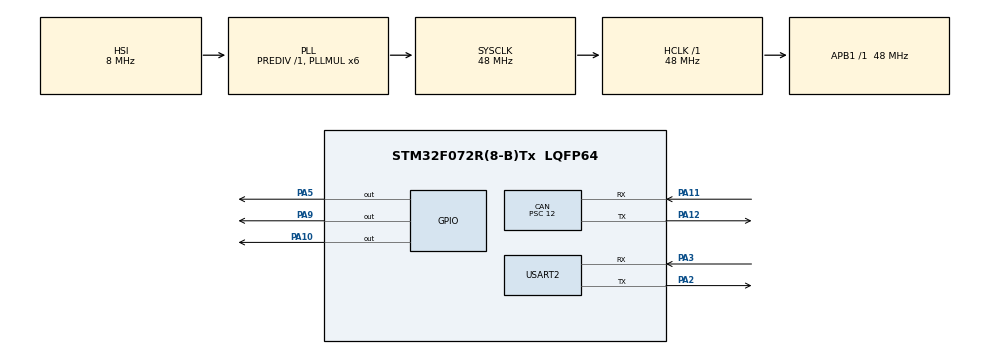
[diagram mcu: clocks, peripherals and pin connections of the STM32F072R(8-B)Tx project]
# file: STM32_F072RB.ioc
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CAN.BS1=CAN_BS1_8TQ
CAN.BS2=CAN_BS2_2TQ
CAN.CalculateBaudRate=363636
CAN.CalculateTimeBit=2750
CAN.CalculateTimeQuantum=250.0
CAN.Prescaler=12
Mcu.Family=STM32F0
Mcu.Name=STM32F072R(8-B)Tx
Mcu.Package=LQFP64
NVIC.CEC_CAN_IRQn=true\:0\:0\:false\:false\:true\:true\:true
NVIC.TIM14_IRQn=true\:0\:0\:false\:false\:true\:true\:true
PA10.GPIO_PuPd=GPIO_PULLUP
PA10.PinState=GPIO_PIN_RESET
PA10.Signal=GPIO_Output
PA11.Mode=CAN_Activate
PA11.Signal=CAN_RX
PA12.Mode=CAN_Activate
PA12.Signal=CAN_TX
PA2.Mode=Asynchronous
PA2.Signal=USART2_TX
PA3.Mode=Asynchronous
PA3.Signal=USART2_RX
PA5.Signal=GPIO_Output
PA9.GPIO_PuPd=GPIO_PULLUP
PA9.PinState=GPIO_PIN_RESET
PA9.Signal=GPIO_Output
PF0-OSC_IN.Mode=HSE-External-Oscillator
PF0-OSC_IN.Signal=RCC_OSC_IN
PF1-OSC_OUT.Mode=HSE-External-Oscillator
PF1-OSC_OUT.Signal=RCC_OSC_OUT
ProjectManager.HeapSize=0x200
ProjectManager.StackSize=0x400
ProjectManager.TargetToolchain=STM32CubeIDE
RCC.AHBFreq_Value=48000000
RCC.APB1Freq_Value=48000000
RCC.APB1TimFreq_Value=48000000
RCC.HCLKFreq_Value=48000000
RCC.HSE_VALUE=32000000
RCC.PLLMUL=RCC_PLL_MUL6
RCC.SYSCLKFreq_VALUE=48000000
RCC.SYSCLKSource=RCC_SYSCLKSOURCE_PLLCLK
TIM14.Period=65535
TIM14.Prescaler=4800
USART2.VirtualMode-Asynchronous=VM_ASYNC
VP_TIM14_VS_ClockSourceINT.Mode=Enable_Timer
board=custom

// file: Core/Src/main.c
/* USER CODE BEGIN Header */
/**
  ******************************************************************************
  * @file           : main.c
  * @brief          : Main program body
  ******************************************************************************
  * @attention
  *
  * <h2><center>&copy; Copyright (c) 2021 STMicroelectronics.
  * All rights reserved.</center></h2>
  *
  * This software component is licensed by ST under BSD 3-Clause license,
  * the "License"; You may not use this file except in compliance with the
  * License. You may obtain a copy of the License at:
  *                        opensource.org/licenses/BSD-3-Clause
  *
  ******************************************************************************
  */
/* USER CODE END Header */
#include "main.h"

/* USER CODE BEGIN Includes */
#include <stdio.h>
#include <math.h>
#include "stm32f0xx_it.h"

/* USER CODE END Includes */

CAN_HandleTypeDef hcan;

TIM_HandleTypeDef htim14;

UART_HandleTypeDef huart2;

/* USER CODE BEGIN PV */
//int CLK = 48000000;
int PSC=4800;
int ARR=1000;
int target = -1;
int cnt = -1;
int timer_val;
int arret = 0;

//CAN
CAN_TxHeaderTypeDef TxHeader;
CAN_RxHeaderTypeDef RxHeader;
uint8_t TxData[8];
uint8_t RxData[8];
uint32_t TxMailbox;

/* USER CODE END PV */

void SystemClock_Config(void);
static void MX_GPIO_Init(void);
static void MX_USART2_UART_Init(void);
static void MX_TIM14_Init(void);
static void MX_CAN_Init(void);
/* USER CODE BEGIN PFP */
void CAN_Config(void);
void HAL_CAN_RxFifo0MsgPendingCallback(CAN_HandleTypeDef *hcan);
uint8_t CAN_Transmit(uint32_t addr, uint32_t data_size, uint8_t *tab_data);

void test_moteur(void);
void change_dir(char dir);
void change_step(char f);
void transmit(void);

/* USER CODE END PFP */

/* USER CODE BEGIN 0 */
void CAN_Config(void) {
	CAN_FilterTypeDef sFilterConfig;

	sFilterConfig.FilterBank = 0;
	sFilterConfig.FilterMode = CAN_FILTERMODE_IDMASK; //Mode de filtrage choisit (avec maqsque ou liste d'adresses)
	sFilterConfig.FilterScale = CAN_FILTERSCALE_32BIT; //1 filtre de 32 bits ou 1 de 16 bits
	sFilterConfig.FilterIdHigh = 0x325 << 5; //Adresse de l'émetteur à filtrer (ou du groupe) sur les bits de poids fort
	sFilterConfig.FilterIdLow = 0; //
	sFilterConfig.FilterMaskIdHigh = 0xFFF << 5; //Masque utilisé (FFF pour une adresse unique) sur les bits de poids fort
	sFilterConfig.FilterMaskIdLow = 0;
	sFilterConfig.FilterFIFOAssignment = CAN_RX_FIFO0; //File utilisée (3 disponibles, donc potentiellement 3 filtres configurables sur chacune)
	sFilterConfig.FilterActivation = ENABLE;
	sFilterConfig.SlaveStartFilterBank = 14; // choix du filtre dans la banque

	HAL_CAN_ConfigFilter(&hcan, &sFilterConfig); //configuration du filtre sur le controleur can

	HAL_CAN_Start(&hcan);                         // Démarre le périphérique CAN
	HAL_CAN_ActivateNotification(&hcan, CAN_IT_RX_FIFO0_MSG_PENDING); // Active le mode interruption

	RxHeader.StdId = 0x324; //adresse dans l'en-tête du mesage reçu
	RxHeader.FilterMatchIndex = 0; //degré de concordance entre l'entête et les informations renseignées.
	RxHeader.DLC = 2; // taille de la donnée
	RxHeader.IDE = CAN_ID_STD; //type d'identifieur can
	RxHeader.RTR = CAN_RTR_DATA; //type de message (ici data)

	//TxData[0] = valeur; // Vous pouvez changer toutes les valeurs de Txdata[0] à Txdata[TxHeader.DLC - 1] (TxHeader.DLC étant défini ci dessus)

}

//fct interrupt (qd stm reçoit msg)
void HAL_CAN_RxFifo0MsgPendingCallback(CAN_HandleTypeDef *hcan) {
	//HAL_CAN_GetRxMessage(hcan, CAN_RX_FIFO0, &RxHeader, RxData);
	// Traitement des données
	uint8_t RxData[8];
	//réception du message
	HAL_CAN_GetRxMessage(hcan, CAN_RX_FIFO0, &RxHeader, RxData);

	//renvoie en uart à l'ordi
	HAL_UART_Transmit(&huart2, RxData, sizeof(RxData), 1000);
	uint8_t msg[] = "\n";
	HAL_UART_Transmit(&huart2, msg, sizeof(msg), 1000);
	transmit(); //(accusé de réception)
	change_dir(RxData[0]);
	change_step(RxData[1]);
}

//accusé de réception
void transmit(void) {
	//Définition de l'en-tête de transmission:
	CAN_TxHeaderTypeDef txHeader;

	txHeader.DLC = 3; // taille des données à transmettre en octets
	txHeader.StdId = 0x324; //adresse à mettre en en-tête du message (adresse de l'émetteur), qui servira pour l'arbitrage
	txHeader.IDE = CAN_ID_STD; //on choisit l'adressage standard
	txHeader.RTR = CAN_RTR_DATA; // On choisit quel type de message envoyer (requête ou data)
	txHeader.TransmitGlobalTime = DISABLE;

	uint8_t data[3] = { 's', 'l', 't' }; // création du message

	uint32_t TxMailbox; //création d'un message pour avoir le numéro de la mailbox dans laquelle est stocké le message (afin de suivre son évolution jusqu'à l'envoi)

	HAL_CAN_AddTxMessage(&hcan, &txHeader, data, &TxMailbox); //Ajouter le message (avec en-tête) à l'une des mailbox (disponible).

	//HAL_CAN_AddTxMessage(&hcan, (uint8_t*)data, sizeof(data), 1000);

}
/* USER CODE END 0 */

int main(void)
{
  /* USER CODE BEGIN 1 */
//char uart_buf[50];
//int uart_buf_len;
//uint16_t timer_val;

  /* USER CODE END 1 */

  /* MCU Configuration--------------------------------------------------------*/

  /* Reset of all peripherals, Initializes the Flash interface and the Systick. */
  HAL_Init();

  /* Configure the system clock */
  SystemClock_Config();

  /* Initialize all configured peripherals */
  MX_GPIO_Init();
  MX_USART2_UART_Init();
  MX_TIM14_Init();
  MX_CAN_Init();
  /* USER CODE BEGIN 2 */
  CAN_Config();
	//char *msg = "Start\n\r";
	//HAL_UART_Transmit(&huart2, (uint8_t*)msg, strlen(msg), 0xFFFF);

    //start timer
    HAL_TIM_Base_Start_IT(&htim14);

    HAL_GPIO_WritePin(GPIOA, GPIO_PIN_5, RESET);
    //Driver 1
    HAL_GPIO_WritePin(GPIOA, GPIO_PIN_9, RESET);
    HAL_GPIO_WritePin(GPIOA, GPIO_PIN_10, RESET);
  /* USER CODE END 2 */

  /* Infinite loop */
  /* USER CODE BEGIN WHILE */
    transmit();
    while (1)
      {

    	//TIM14->ARR = 10000;
    	//timer_val = __HAL_TIM_GET_COUNTER(&htim14);
		//if (timer_val == 0) HAL_GPIO_WritePin(GPIOA, GPIO_PIN_10, GPIO_PIN_SET);
		//else HAL_GPIO_WritePin(GPIOA, GPIO_PIN_10, GPIO_PIN_RESET);

    	//test_moteur();

    	/*timer_val15 = __HAL_TIM_GET_COUNTER(&htim15);
    	test_moteur(10000);
    	int div=0;
    	if (timer_val15 == 0) div = div+1;

    	if (div % 2 ==0)HAL_GPIO_WritePin(GPIOA, GPIO_PIN_9, RESET);
    	else HAL_GPIO_WritePin(GPIOA, GPIO_PIN_9, SET);*/
    	/*int i=0;
    	TIM14->ARR = 10000;
    	timer_val = __HAL_TIM_GET_COUNTER(&htim14);
    	while (i<10000){
			if (timer_val == 0){
				HAL_GPIO_WritePin(GPIOA, GPIO_PIN_10, GPIO_PIN_SET);
				i++;
			}
			else HAL_GPIO_WritePin(GPIOA, GPIO_PIN_10, GPIO_PIN_RESET);
    	}
    	TIM14->ARR = 1000;
    	while (i<20000){
			if (timer_val == 0){
				HAL_GPIO_WritePin(GPIOA, GPIO_PIN_10, GPIO_PIN_SET);
				i++;
			}
			else HAL_GPIO_WritePin(GPIOA, GPIO_PIN_10, GPIO_PIN_RESET);
		}*/

    	/*int i=0;
		while (i<10000){
			test_moteur(10000);
			i++;
		}
		while (i<20000){
			test_moteur(1000);
			i++;
		}*/

    	/*int i = 320000;
    	timer_val15 = 0;
		test_moteur(10000);
		while (timer_val15<10000){
			test_moteur(10000);
			timer_val15 = __HAL_TIM_GET_COUNTER(&htim15);
		}
		timer_val15 = 0;
		while (timer_val15<10000){
			test_moteur(1000);
			timer_val15 = __HAL_TIM_GET_COUNTER(&htim15);
		}
		timer_val15 = 0;
		while (timer_val15<10000){
			test_moteur(10000);
			timer_val15 = __HAL_TIM_GET_COUNTER(&htim15);
		}*/

    /* USER CODE END WHILE */

    }
}

void SystemClock_Config(void)
{
  RCC_OscInitTypeDef RCC_OscInitStruct = {0};
  RCC_ClkInitTypeDef RCC_ClkInitStruct = {0};
  RCC_PeriphCLKInitTypeDef PeriphClkInit = {0};

  /** Initializes the RCC Oscillators according to the specified parameters
  * in the RCC_OscInitTypeDef structure.
  */
  RCC_OscInitStruct.OscillatorType = RCC_OSCILLATORTYPE_HSI;
  RCC_OscInitStruct.HSIState = RCC_HSI_ON;
  RCC_OscInitStruct.HSICalibrationValue = RCC_HSICALIBRATION_DEFAULT;
  RCC_OscInitStruct.PLL.PLLState = RCC_PLL_ON;
  RCC_OscInitStruct.PLL.PLLSource = RCC_PLLSOURCE_HSI;
  RCC_OscInitStruct.PLL.PLLMUL = RCC_PLL_MUL6;
  RCC_OscInitStruct.PLL.PREDIV = RCC_PREDIV_DIV1;
  if (HAL_RCC_OscConfig(&RCC_OscInitStruct) != HAL_OK)
  {
    Error_Handler();
  }
  /** Initializes the CPU, AHB and APB buses clocks
  */
  RCC_ClkInitStruct.ClockType = RCC_CLOCKTYPE_HCLK|RCC_CLOCKTYPE_SYSCLK
                              |RCC_CLOCKTYPE_PCLK1;
  RCC_ClkInitStruct.SYSCLKSource = RCC_SYSCLKSOURCE_PLLCLK;
  RCC_ClkInitStruct.AHBCLKDivider = RCC_SYSCLK_DIV1;
  RCC_ClkInitStruct.APB1CLKDivider = RCC_HCLK_DIV1;

  if (HAL_RCC_ClockConfig(&RCC_ClkInitStruct, FLASH_LATENCY_1) != HAL_OK)
  {
    Error_Handler();
  }
  PeriphClkInit.PeriphClockSelection = RCC_PERIPHCLK_USART2;
  PeriphClkInit.Usart2ClockSelection = RCC_USART2CLKSOURCE_PCLK1;
  if (HAL_RCCEx_PeriphCLKConfig(&PeriphClkInit) != HAL_OK)
  {
    Error_Handler();
  }
}

static void MX_CAN_Init(void)
{

  hcan.Instance = CAN;
  hcan.Init.Prescaler = 12;
  hcan.Init.Mode = CAN_MODE_NORMAL;
  hcan.Init.SyncJumpWidth = CAN_SJW_1TQ;
  hcan.Init.TimeSeg1 = CAN_BS1_8TQ;
  hcan.Init.TimeSeg2 = CAN_BS2_2TQ;
  hcan.Init.TimeTriggeredMode = DISABLE;
  hcan.Init.AutoBusOff = DISABLE;
  hcan.Init.AutoWakeUp = DISABLE;
  hcan.Init.AutoRetransmission = DISABLE;
  hcan.Init.ReceiveFifoLocked = DISABLE;
  hcan.Init.TransmitFifoPriority = DISABLE;
  if (HAL_CAN_Init(&hcan) != HAL_OK)
  {
    Error_Handler();
  }

}

static void MX_TIM14_Init(void)
{

  htim14.Instance = TIM14;
  htim14.Init.Prescaler = 4800;
  htim14.Init.CounterMode = TIM_COUNTERMODE_UP;
  htim14.Init.Period = 65535;
  htim14.Init.ClockDivision = TIM_CLOCKDIVISION_DIV1;
  htim14.Init.AutoReloadPreload = TIM_AUTORELOAD_PRELOAD_DISABLE;
  if (HAL_TIM_Base_Init(&htim14) != HAL_OK)
  {
    Error_Handler();
  }

}

static void MX_USART2_UART_Init(void)
{

  huart2.Instance = USART2;
  huart2.Init.BaudRate = 38400;
  huart2.Init.WordLength = UART_WORDLENGTH_8B;
  huart2.Init.StopBits = UART_STOPBITS_1;
  huart2.Init.Parity = UART_PARITY_NONE;
  huart2.Init.Mode = UART_MODE_TX_RX;
  huart2.Init.HwFlowCtl = UART_HWCONTROL_NONE;
  huart2.Init.OverSampling = UART_OVERSAMPLING_16;
  huart2.Init.OneBitSampling = UART_ONE_BIT_SAMPLE_DISABLE;
  huart2.AdvancedInit.AdvFeatureInit = UART_ADVFEATURE_NO_INIT;
  if (HAL_UART_Init(&huart2) != HAL_OK)
  {
    Error_Handler();
  }

}

static void MX_GPIO_Init(void)
{
  GPIO_InitTypeDef GPIO_InitStruct = {0};

  /* GPIO Ports Clock Enable */
  __HAL_RCC_GPIOF_CLK_ENABLE();
  __HAL_RCC_GPIOA_CLK_ENABLE();

  /*Configure GPIO pin Output Level */
  HAL_GPIO_WritePin(GPIOA, GPIO_PIN_5|GPIO_PIN_9|GPIO_PIN_10, GPIO_PIN_RESET);

  /*Configure GPIO pin : PA5 */
  GPIO_InitStruct.Pin = GPIO_PIN_5;
  GPIO_InitStruct.Mode = GPIO_MODE_OUTPUT_PP;
  GPIO_InitStruct.Pull = GPIO_NOPULL;
  GPIO_InitStruct.Speed = GPIO_SPEED_FREQ_LOW;
  HAL_GPIO_Init(GPIOA, &GPIO_InitStruct);

  /*Configure GPIO pins : PA9 PA10 */
  GPIO_InitStruct.Pin = GPIO_PIN_9|GPIO_PIN_10;
  GPIO_InitStruct.Mode = GPIO_MODE_OUTPUT_PP;
  GPIO_InitStruct.Pull = GPIO_PULLUP;
  GPIO_InitStruct.Speed = GPIO_SPEED_FREQ_LOW;
  HAL_GPIO_Init(GPIOA, &GPIO_InitStruct);

}

/* USER CODE BEGIN 4 */
/*
void test_moteur(){
	timer_val = __HAL_TIM_GET_COUNTER(&htim14);
	if (timer_val == 0) HAL_GPIO_WritePin(GPIOA, GPIO_PIN_10, SET);
	else HAL_GPIO_WritePin(GPIOA, GPIO_PIN_10, RESET);
}*/

void change_dir(char dir){
	transmit();
	if (dir=='0'){
		transmit();
		HAL_GPIO_WritePin(GPIOA, GPIO_PIN_9, RESET);
	}
	else if (dir=='1'){
		transmit();
		HAL_GPIO_WritePin(GPIOA, GPIO_PIN_9, SET);
	}
}

void change_step(char f){
	transmit();
	int freq = f;
	TIM14->ARR = freq;

	/*const char FREQ = f;
	switch (FREQ){
		case '00': HAL_GPIO_WritePin(GPIOA, GPIO_PIN_10, RESET);
		case '01': TIM14->ARR = 100000; break;
		case '02': TIM14->ARR = 90000; break;
		case '03': TIM14->ARR = 80000; break;
		case '04': TIM14->ARR = 70000; break;
		case '05': TIM14->ARR = 60000; break;
		case '06': TIM14->ARR = 50000; break;
		case '07': TIM14->ARR = 40000; break;
		case '08': TIM14->ARR = 30000; break;
		case '09': TIM14->ARR = 20000; break;
		case '10': TIM14->ARR = 10000; break;
		case '11': TIM14->ARR = 1000; break;
	}*/
}

// Callback: timer has rolled over
	/*void HAL_TIM_PeriodElapsedCallback(TIM_HandleTypeDef *htim)
	{
	  // Check which version of the timer triggered this callback and toggle LED
	  if (htim == &htim14)
	  {
		HAL_GPIO_TogglePin(GPIOA, GPIO_PIN_10, SET);
	  }
	}*/

/* USER CODE END 4 */

void Error_Handler(void)
{
  __disable_irq();
  while (1)
  {
  }
}
